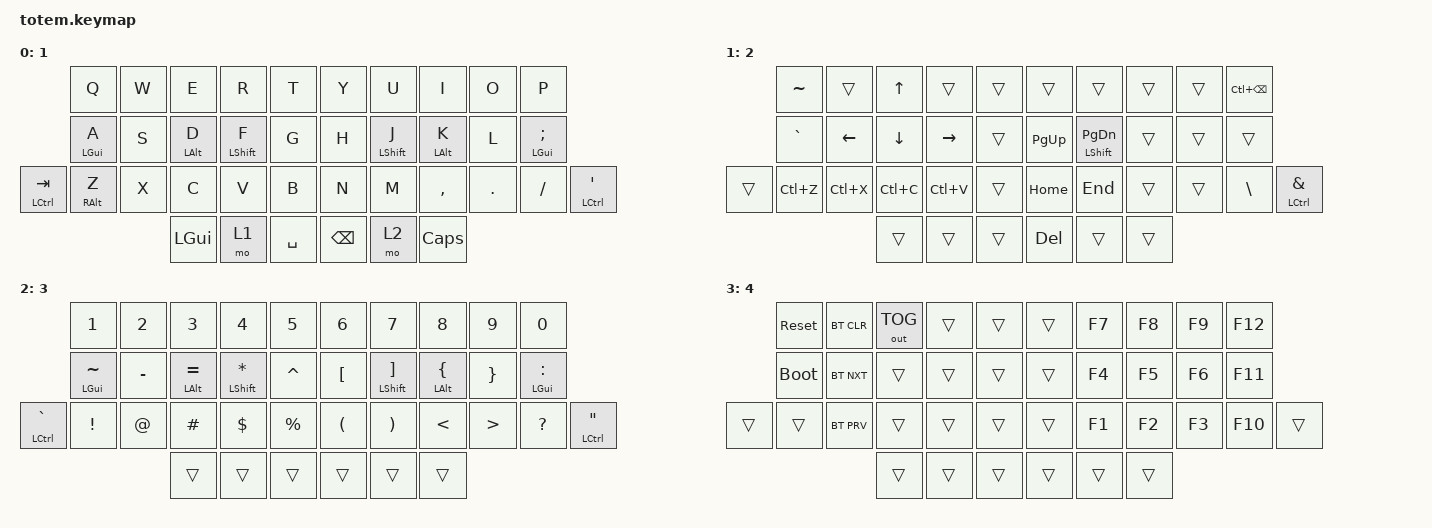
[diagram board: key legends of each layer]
//
//                                                        ▀▀▀▀▀     ▀▀▀▀▀          ▀▀█▀▀
//                                                        ▄▀▀▀▄  ▄  ▄▀▀▀▄  ▄  ▄▀▀▀▄  █  ▄▀▀▀▄
//                                                        █   █  █  █   █  █  █   █  █  █   █
//                                                         ▀▀▀   █   ▀▀▀   █   ▀▀▀   ▀   ▀▀▀
//                                                               █      ▄▄▄█▄▄▄    █   █  
//                                                               ▀      █  █  █     █▄█
//                                                             ▀▀▀▀▀    █  █  █      ▀
//                                                                      ▀  ▀  ▀
//
// ▄▄▄▄▄▄▄▄▄▄▄▄▄▄▄▄▄▄▄▄▄▄▄▄▄▄▄▄▄▄▄▄▄▄▄▄▄▄▄▄▄▄▄▄▄▄▄▄▄▄▄▄▄▄▄▄▄▄▄▄▄▄▄▄▄▄▄▄▄▄▄▄▄▄▄▄▄▄▄▄▄▄▄▄▄▄▄▄▄▄▄▄▄▄▄▄▄▄▄▄▄▄▄▄▄▄▄▄▄▄▄▄▄▄▄▄▄▄▄▄▄▄▄▄▄▄▄▄▄▄▄▄▄▄▄▄▄▄▄▄▄▄▄▄▄▄▄▄▄

#include <behaviors.dtsi>
#include <dt-bindings/zmk/bt.h>
#include <dt-bindings/zmk/keys.h>
#include <dt-bindings/zmk/outputs.h>

#define BASE 0
#define NAV  1
#define SYM  2
#define ADJ  3
#define TVP1 4
#define TVP2 5

&mt {
    quick-tap-ms = <100>;
    global-quick-tap;
    flavor = "tap-preferred";
    tapping-term-ms = <170>;
};

/ {
    combos {
        compatible = "zmk,combos";

        combo_esc {
            timeout-ms = <50>;
            key-positions = <0 1>;
            bindings = <&kp ESC>;
        };

        enter {
            bindings = <&kp RET>;
            key-positions = <16 17 18>;
        };
    };

    keymap {
        compatible = "zmk,keymap";

        // ▄▄▄▄▄▄▄▄▄▄▄▄▄▄▄▄▄▄▄▄▄▄▄▄▄▄▄▄▄▄▄▄▄▄▄▄▄▄▄▄▄▄▄▄▄▄▄▄▄▄▄▄▄▄▄▄▄▄▄▄▄▄▄▄▄▄▄▄▄▄▄▄▄▄▄▄▄▄▄▄▄▄▄▄▄▄▄▄▄▄▄▄▄▄▄▄▄▄▄▄▄▄▄▄▄▄▄▄▄▄▄▄▄▄▄▄▄▄▄▄▄▄▄▄▄▄▄▄▄▄▄▄▄▄▄▄▄▄▄▄▄▄▄▄▄▄▄▄▄

        base_layer {
            // ┏━━━━━━━━━━━━━━━━━━━━━━━━━━━━━━━━━━━━━━━┓

            label = "1";

            // ┗━━━━━━━━━━━━━━━━━━━━━━━━━━━━━━━━━━━━━━━┛
            //             ┏━━━━━━━━━━━┳━━━━━━━━━━━┳━━━━━━━━━━━┳━━━━━━━━━━━┳━━━━━━━━━━━┓   ┏━━━━━━━━━━━┳━━━━━━━━━━━┳━━━━━━━━━━━┳━━━━━━━━━━━┳━━━━━━━━━━━┓
            //             ┃     Q     ┃     W     ┃     F     ┃     P     ┃     G     ┃   ┃     J     ┃     L     ┃     U     ┃     Y     ┃     ;     ┃
            //             ┣━━━━━━━━━━━╋━━━━━━━━━━━╋━━━━━━━━━━━╋━━━━━━━━━━━╋━━━━━━━━━━━┫   ┣━━━━━━━━━━━╋━━━━━━━━━━━╋━━━━━━━━━━━╋━━━━━━━━━━━╋━━━━━━━━━━━┫
            //             ┃     A     ┃     R     ┃     S     ┃     T     ┃     D     ┃   ┃     H     ┃     N     ┃     E     ┃     I     ┃     O     ┃
            // ┏━━━━━━━━━━━╋━━━━━━━━━━━╋━━━━━━━━━━━╋━━━━━━━━━━━╋━━━━━━━━━━━╋━━━━━━━━━━━┫   ┣━━━━━━━━━━━╋━━━━━━━━━━━╋━━━━━━━━━━━╋━━━━━━━━━━━╋━━━━━━━━━━━╋━━━━━━━━━━━┓
            // ┃     Q     ┃     Z     ┃     X     ┃     C     ┃     V     ┃     B     ┃   ┃     K     ┃     M     ┃     ,     ┃     .     ┃     /     ┃     \     ┃
            // ┗━━━━━━━━━━━┻━━━━━━━━━━━┻━━━━━━━━━━━╋━━━━━━━━━━━╋━━━━━━━━━━━╋━━━━━━━━━━━┫   ┣━━━━━━━━━━━╋━━━━━━━━━━━╋━━━━━━━━━━━╋━━━━━━━━━━━┻━━━━━━━━━━━┻━━━━━━━━━━━┛
            //                                     ┃    DEL    ┃    TAB    ┃    SPC    ┃   ┃   ENTER   ┃           ┃   BSPC    ┃
            //                                     ┗━━━━━━━━━━━┻━━━━━━━━━━━┻━━━━━━━━━━━┛   ┗━━━━━━━━━━━┻━━━━━━━━━━━┻━━━━━━━━━━━┛

            bindings = <
                      &kp Q            &kp W  &kp E           &kp R        &kp T        &kp Y          &kp U             &kp I           &kp O    &kp P
                      &mt LEFT_GUI A   &kp S  &mt LEFT_ALT D  &mt LSHFT F  &kp G        &kp H          &mt LEFT_SHIFT J  &mt LEFT_ALT K  &kp L    &mt LEFT_GUI SEMICOLON
&mt LEFT_CONTROL TAB  &mt RIGHT_ALT Z  &kp X  &kp C           &kp V        &kp B        &kp N          &kp M             &kp COMMA       &kp DOT  &kp FSLH                &mt LEFT_CONTROL APOS
                                              &kp LEFT_GUI    &mo 1        &kp SPACE    &kp BACKSPACE  &mo 2             &kp CAPSLOCK
            >;
        };

        // ▄▄▄▄▄▄▄▄▄▄▄▄▄▄▄▄▄▄▄▄▄▄▄▄▄▄▄▄▄▄▄▄▄▄▄▄▄▄▄▄▄▄▄▄▄▄▄▄▄▄▄▄▄▄▄▄▄▄▄▄▄▄▄▄▄▄▄▄▄▄▄▄▄▄▄▄▄▄▄▄▄▄▄▄▄▄▄▄▄▄▄▄▄▄▄▄▄▄▄▄▄▄▄▄▄▄▄▄▄▄▄▄▄▄▄▄▄▄▄▄▄▄▄▄▄▄▄▄▄▄▄▄▄▄▄▄▄▄▄▄▄▄▄▄▄▄▄▄▄

        nav_layer {
            // ┏━━━━━━━━━━━━━━━━━━━━━━━━━━━━━━━━━━━━━━━┓

            label = "2";

            // ┗━━━━━━━━━━━━━━━━━━━━━━━━━━━━━━━━━━━━━━━┛
            //             ┏━━━━━━━━━━━┳━━━━━━━━━━━┳━━━━━━━━━━━┳━━━━━━━━━━━┳━━━━━━━━━━━┓   ┏━━━━━━━━━━━┳━━━━━━━━━━━┳━━━━━━━━━━━┳━━━━━━━━━━━┳━━━━━━━━━━━┓
            //             ┃           ┃           ┃     UP    ┃           ┃     {     ┃   ┃     }     ┃     7     ┃     8     ┃     9     ┃     +     ┃
            //             ┣━━━━━━━━━━━╋━━━━━━━━━━━╋━━━━━━━━━━━╋━━━━━━━━━━━╋━━━━━━━━━━━┫   ┣━━━━━━━━━━━╋━━━━━━━━━━━╋━━━━━━━━━━━╋━━━━━━━━━━━╋━━━━━━━━━━━┫
            //             ┃   SHIFT   ┃   LEFT    ┃    DOWN   ┃   RIGHT   ┃     [     ┃   ┃     ]     ┃     4     ┃     5     ┃     6     ┃     -     ┃
            // ┏━━━━━━━━━━━╋━━━━━━━━━━━╋━━━━━━━━━━━╋━━━━━━━━━━━╋━━━━━━━━━━━╋━━━━━━━━━━━┫   ┣━━━━━━━━━━━╋━━━━━━━━━━━╋━━━━━━━━━━━╋━━━━━━━━━━━╋━━━━━━━━━━━╋━━━━━━━━━━━┓
            // ┃           ┃           ┃   P UP    ┃  C LOCK   ┃  P DOWN   ┃     (     ┃   ┃     )     ┃     1     ┃     2     ┃     3     ┃     *     ┃           ┃
            // ┗━━━━━━━━━━━┻━━━━━━━━━━━┻━━━━━━━━━━━╋━━━━━━━━━━━╋━━━━━━━━━━━╋━━━━━━━━━━━┫   ┣━━━━━━━━━━━╋━━━━━━━━━━━╋━━━━━━━━━━━╋━━━━━━━━━━━┻━━━━━━━━━━━┻━━━━━━━━━━━┛
            //                                     ┃           ┃    TAB    ┃    SPC    ┃   ┃    DEL    ┃     0     ┃           ┃
            //                                     ┗━━━━━━━━━━━┻━━━━━━━━━━━┻━━━━━━━━━━━┛   ┗━━━━━━━━━━━┻━━━━━━━━━━━┻━━━━━━━━━━━┛

            bindings = <
        &kp TILDE  &trans     &kp UP     &trans     &trans    &trans      &trans                    &trans  &trans  &kp LC(BACKSPACE)
        &kp GRAVE  &kp LEFT   &kp DOWN   &kp RIGHT  &trans    &kp PG_UP   &mt LEFT_SHIFT PAGE_DOWN  &trans  &trans  &trans
&trans  &kp LC(Z)  &kp LC(X)  &kp LC(C)  &kp LC(V)  &trans    &kp HOME    &kp END                   &trans  &trans  &kp BACKSLASH      &mt LEFT_CONTROL AMPS
                              &trans     &trans     &trans    &kp DELETE  &trans                    &trans
            >;
        };

        // ▄▄▄▄▄▄▄▄▄▄▄▄▄▄▄▄▄▄▄▄▄▄▄▄▄▄▄▄▄▄▄▄▄▄▄▄▄▄▄▄▄▄▄▄▄▄▄▄▄▄▄▄▄▄▄▄▄▄▄▄▄▄▄▄▄▄▄▄▄▄▄▄▄▄▄▄▄▄▄▄▄▄▄▄▄▄▄▄▄▄▄▄▄▄▄▄▄▄▄▄▄▄▄▄▄▄▄▄▄▄▄▄▄▄▄▄▄▄▄▄▄▄▄▄▄▄▄▄▄▄▄▄▄▄▄▄▄▄▄▄▄▄▄▄▄▄▄▄▄

        sim_layer {
            // ┏━━━━━━━━━━━━━━━━━━━━━━━━━━━━━━━━━━━━━━━┓

            label = "3";

            // ┗━━━━━━━━━━━━━━━━━━━━━━━━━━━━━━━━━━━━━━━┛
            //             ┏━━━━━━━━━━━┳━━━━━━━━━━━┳━━━━━━━━━━━┳━━━━━━━━━━━┳━━━━━━━━━━━┓   ┏━━━━━━━━━━━┳━━━━━━━━━━━┳━━━━━━━━━━━┳━━━━━━━━━━━┳━━━━━━━━━━━┓
            //             ┃     !     ┃     @     ┃     #     ┃     $     ┃     %     ┃   ┃     ˆ     ┃     &     ┃     Ü     ┃     '     ┃     "     ┃
            //             ┣━━━━━━━━━━━╋━━━━━━━━━━━╋━━━━━━━━━━━╋━━━━━━━━━━━╋━━━━━━━━━━━┫   ┣━━━━━━━━━━━╋━━━━━━━━━━━╋━━━━━━━━━━━╋━━━━━━━━━━━╋━━━━━━━━━━━┫
            //             ┃     Ä     ┃           ┃    SZ     ┃           ┃           ┃   ┃   MUTE    ┃   YEN     ┃   EURO    ┃  POUND    ┃     Ö     ┃
            // ┏━━━━━━━━━━━╋━━━━━━━━━━━╋━━━━━━━━━━━╋━━━━━━━━━━━╋━━━━━━━━━━━╋━━━━━━━━━━━┫   ┣━━━━━━━━━━━╋━━━━━━━━━━━╋━━━━━━━━━━━╋━━━━━━━━━━━╋━━━━━━━━━━━╋━━━━━━━━━━━┓
            // ┃           ┃  EMAIL1   ┃  EMAIL2   ┃           ┃           ┃           ┃   ┃   VOL-    ┃   VOL+    ┃   LAST    ┃   NEXT    ┃     \     ┃           ┃
            // ┗━━━━━━━━━━━┻━━━━━━━━━━━┻━━━━━━━━━━━╋━━━━━━━━━━━╋━━━━━━━━━━━╋━━━━━━━━━━━┫   ┣━━━━━━━━━━━╋━━━━━━━━━━━╋━━━━━━━━━━━╋━━━━━━━━━━━┻━━━━━━━━━━━┻━━━━━━━━━━━┛
            //                                     ┃           ┃    GIF    ┃    ADJ    ┃   ┃           ┃           ┃           ┃
            //                                     ┗━━━━━━━━━━━┻━━━━━━━━━━━┻━━━━━━━━━━━┛   ┗━━━━━━━━━━━┻━━━━━━━━━━━┻━━━━━━━━━━━┛

            bindings = <
                        &kp NUMBER_1        &kp NUMBER_2  &kp NUMBER_3        &kp NUMBER_4          &kp N5         &kp NUMBER_6          &kp N7                        &kp N8                   &kp N9            &kp N0
                        &mt LEFT_GUI TILDE  &kp MINUS     &mt LEFT_ALT EQUAL  &mt LEFT_SHIFT ASTRK  &kp CARET      &kp LEFT_BRACKET      &mt LEFT_SHIFT RIGHT_BRACKET  &mt LEFT_ALT LEFT_BRACE  &kp RIGHT_BRACE   &mt LEFT_GUI COLON
&mt LEFT_CONTROL GRAVE  &kp EXCLAMATION     &kp AT        &kp HASH            &kp DOLLAR            &kp PERCENT    &kp LEFT_PARENTHESIS  &kp RIGHT_PARENTHESIS         &kp LESS_THAN            &kp GREATER_THAN  &kp QUESTION        &mt LEFT_CONTROL DOUBLE_QUOTES
                                                          &trans              &trans                &trans         &trans                &trans                        &trans
            >;
        };

        // ▄▄▄▄▄▄▄▄▄▄▄▄▄▄▄▄▄▄▄▄▄▄▄▄▄▄▄▄▄▄▄▄▄▄▄▄▄▄▄▄▄▄▄▄▄▄▄▄▄▄▄▄▄▄▄▄▄▄▄▄▄▄▄▄▄▄▄▄▄▄▄▄▄▄▄▄▄▄▄▄▄▄▄▄▄▄▄▄▄▄▄▄▄▄▄▄▄▄▄▄▄▄▄▄▄▄▄▄▄▄▄▄▄▄▄▄▄▄▄▄▄▄▄▄▄▄▄▄▄▄▄▄▄▄▄▄▄▄▄▄▄▄▄▄▄▄▄▄▄

        adjust_layer {
            // ┏━━━━━━━━━━━━━━━━━━━━━━━━━━━━━━━━━━━━━━━┓

            label = "4";

            // ┗━━━━━━━━━━━━━━━━━━━━━━━━━━━━━━━━━━━━━━━┛
            //             ┏━━━━━━━━━━━┳━━━━━━━━━━━┳━━━━━━━━━━━┳━━━━━━━━━━━┳━━━━━━━━━━━┓   ┏━━━━━━━━━━━┳━━━━━━━━━━━┳━━━━━━━━━━━┳━━━━━━━━━━━┳━━━━━━━━━━━┓
            //             ┃   RESET   ┃ BT CLEAR  ┃  OUT TOG  ┃           ┃           ┃   ┃           ┃    F7     ┃    F8     ┃    F9     ┃    F12    ┃
            //             ┣━━━━━━━━━━━╋━━━━━━━━━━━╋━━━━━━━━━━━╋━━━━━━━━━━━╋━━━━━━━━━━━┫   ┣━━━━━━━━━━━╋━━━━━━━━━━━╋━━━━━━━━━━━╋━━━━━━━━━━━╋━━━━━━━━━━━┫
            //             ┃ BOOTLOAD  ┃ BT NEXT   ┃           ┃           ┃           ┃   ┃           ┃    F4     ┃    F5     ┃    F6     ┃    F11    ┃
            // ┏━━━━━━━━━━━╋━━━━━━━━━━━╋━━━━━━━━━━━╋━━━━━━━━━━━╋━━━━━━━━━━━╋━━━━━━━━━━━┫   ┣━━━━━━━━━━━╋━━━━━━━━━━━╋━━━━━━━━━━━╋━━━━━━━━━━━╋━━━━━━━━━━━╋━━━━━━━━━━━┓
            // ┃           ┃           ┃ BT PREV   ┃           ┃           ┃           ┃   ┃           ┃    F1     ┃    F2     ┃    F3     ┃    F10    ┃           ┃
            // ┗━━━━━━━━━━━┻━━━━━━━━━━━┻━━━━━━━━━━━╋━━━━━━━━━━━╋━━━━━━━━━━━╋━━━━━━━━━━━┫   ┣━━━━━━━━━━━╋━━━━━━━━━━━╋━━━━━━━━━━━╋━━━━━━━━━━━┻━━━━━━━━━━━┻━━━━━━━━━━━┛
            //                                     ┃           ┃           ┃           ┃   ┃           ┃           ┃           ┃
            //                                     ┗━━━━━━━━━━━┻━━━━━━━━━━━┻━━━━━━━━━━━┛   ┗━━━━━━━━━━━┻━━━━━━━━━━━┻━━━━━━━━━━━┛

            bindings = <
        &sys_reset   &bt BT_CLR  &out OUT_TOG  &trans  &trans    &trans  &kp F7  &kp F8  &kp F9  &kp F12
        &bootloader  &bt BT_NXT  &trans        &trans  &trans    &trans  &kp F4  &kp F5  &kp F6  &kp F11
&trans  &trans       &bt BT_PRV  &trans        &trans  &trans    &trans  &kp F1  &kp F2  &kp F3  &kp F10  &trans
                                 &trans        &trans  &trans    &trans  &trans  &trans
            >;
        };

        // ▄▄▄▄▄▄▄▄▄▄▄▄▄▄▄▄▄▄▄▄▄▄▄▄▄▄▄▄▄▄▄▄▄▄▄▄▄▄▄▄▄▄▄▄▄▄▄▄▄▄▄▄▄▄▄▄▄▄▄▄▄▄▄▄▄▄▄▄▄▄▄▄▄▄▄▄▄▄▄▄▄▄▄▄▄▄▄▄▄▄▄▄▄▄▄▄▄▄▄▄▄▄▄▄▄▄▄▄▄▄▄▄▄▄▄▄▄▄▄▄▄▄▄▄▄▄▄▄▄▄▄▄▄▄▄▄▄▄▄▄▄▄▄▄▄▄▄▄▄
        // ▄▄▄▄▄▄▄▄▄▄▄▄▄▄▄▄▄▄▄▄▄▄▄▄▄▄▄▄▄▄▄▄▄▄▄▄▄▄▄▄▄▄▄▄▄▄▄▄▄▄▄▄▄▄▄▄▄▄▄▄▄▄▄▄▄▄▄▄▄▄▄▄▄▄▄▄▄▄▄▄▄▄▄▄▄▄▄▄▄▄▄▄▄▄▄▄▄▄▄▄▄▄▄▄▄▄▄▄▄▄▄▄▄▄▄▄▄▄▄▄▄▄▄▄▄▄▄▄▄▄▄▄▄▄▄▄▄▄▄▄▄▄▄▄▄▄▄▄▄
    };

    conditional_layers {
        compatible = "zmk,conditional-layers";

        layer_3 {
            if-layers = <1 2>;
            then-layer = <3>;
        };
    };
};
